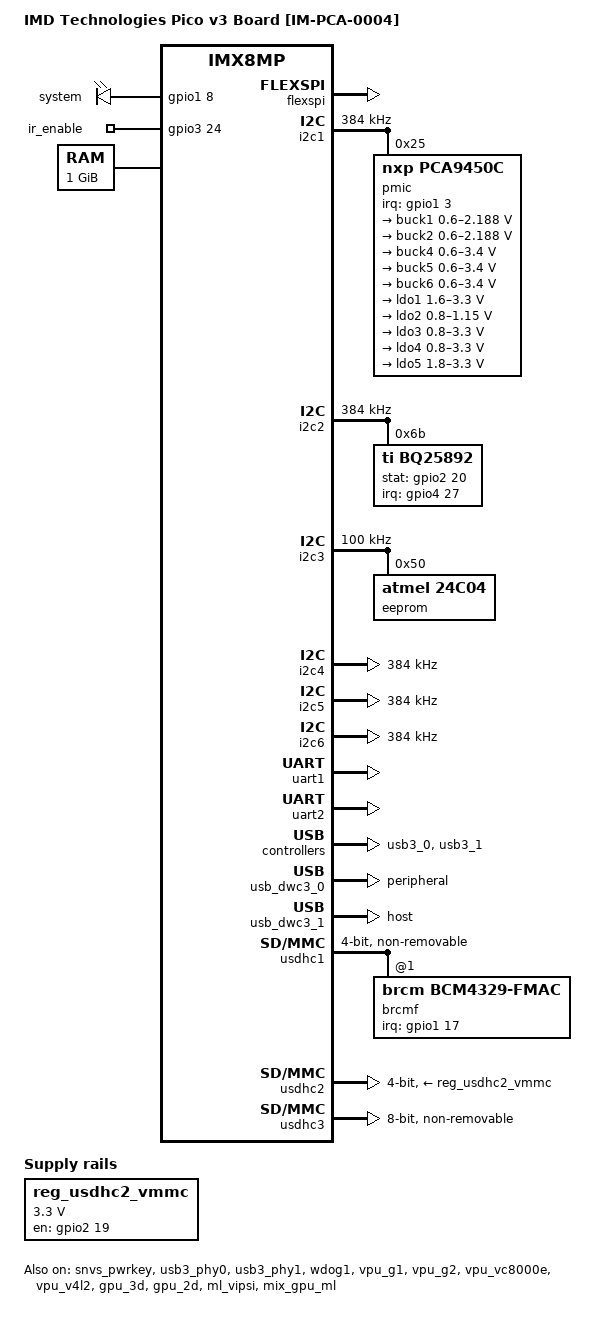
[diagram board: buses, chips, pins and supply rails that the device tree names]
// SPDX-License-Identifier: (GPL-2.0+ OR MIT)
/*
 * Copyright 2019 NXP
 * Copyright 2022 IMD Technologies
 */

/dts-v1/;

#include <dt-bindings/usb/pd.h>
#include "imx8mp.dtsi"

/ {
	model = "IMD Technologies Pico v3 Board [IM-PCA-0004]";
	compatible = "imdt,imx8mp-imdt-pico-v3-0004", "fsl,imx8mp";

	chosen {
		stdout-path = &uart2;
	};

	gpio-leds {
		compatible = "gpio-leds";
		pinctrl-names = "default";
		pinctrl-0 = <&pinctrl_gpio_led>;

		system {
			label = "system";
			gpios = <&gpio1 8 GPIO_ACTIVE_HIGH>;
			default-state = "on";
		};

		ir_enable {
			label = "ir_enable";
			gpios = <&gpio3 24 GPIO_ACTIVE_HIGH>;
			default-state = "off";
		};
	};

	memory@40000000 {
		device_type = "memory";
		reg = <0x0 0x40000000 0 0x40000000>;
	};

	resmem: reserved-memory {
		#address-cells = <2>;
		#size-cells = <2>;
		ranges;

		/* global autoconfigured region for contiguous allocations */
		linux,cma {
			compatible = "shared-dma-pool";
			reusable;
			size = <0 0x10000000>;
			alloc-ranges = <0 0x40000000 0 0x80000000>;
			linux,cma-default;
		};
	};

	reg_usdhc2_vmmc: regulator-usdhc2 {
		compatible = "regulator-fixed";
		pinctrl-names = "default";
		pinctrl-0 = <&pinctrl_reg_usdhc2_vmmc>;
		regulator-name = "VSD_3V3";
		regulator-min-microvolt = <3300000>;
		regulator-max-microvolt = <3300000>;
		gpio = <&gpio2 19 GPIO_ACTIVE_HIGH>;
		enable-active-high;
	};

};

&A53_0 {
	cpu-supply = <&buck2>;
};

&A53_1 {
	cpu-supply = <&buck2>;
};

&A53_2 {
	cpu-supply = <&buck2>;
};

&A53_3 {
	cpu-supply = <&buck2>;
};

/delete-node/ &dsp;

&pwm1 {
	status = "disabled";
};

&pwm2 {
	status = "disabled";
};

&pwm4 {
	status = "disabled";
};

&aud2htx {
	status = "disabled";
};

&ecspi2 {
	status = "disabled";
};

&flexspi {
	pinctrl-names = "default";
	pinctrl-0 = <&pinctrl_flexspi0>;
	status = "okay";
};

&i2c1 {
	clock-frequency = <384000>;
	pinctrl-names = "default";
	pinctrl-0 = <&pinctrl_i2c1>;
	status = "okay";

	pmic: pca9450@25 {
		reg = <0x25>;
		compatible = "nxp,pca9450c";
		/* PMIC PCA9450 PMIC_nINT GPIO1_IO3 */
		pinctrl-0 = <&pinctrl_pmic>;
		interrupt-parent = <&gpio1>;
		interrupts = <3 GPIO_ACTIVE_LOW>;

		regulators {
			buck1: BUCK1 {
				regulator-name = "BUCK1";
				regulator-min-microvolt = <600000>;
				regulator-max-microvolt = <2187500>;
				regulator-boot-on;
				regulator-always-on;
				regulator-ramp-delay = <3125>;
			};

			buck2: BUCK2 {
				regulator-name = "BUCK2";
				regulator-min-microvolt = <600000>;
				regulator-max-microvolt = <2187500>;
				regulator-boot-on;
				regulator-always-on;
				regulator-ramp-delay = <3125>;
				nxp,dvs-run-voltage = <950000>;
				nxp,dvs-standby-voltage = <850000>;
			};

			buck4: BUCK4{
				regulator-name = "BUCK4";
				regulator-min-microvolt = <600000>;
				regulator-max-microvolt = <3400000>;
				regulator-boot-on;
				regulator-always-on;
			};

			buck5: BUCK5{
				regulator-name = "BUCK5";
				regulator-min-microvolt = <600000>;
				regulator-max-microvolt = <3400000>;
				regulator-boot-on;
				regulator-always-on;
			};

			buck6: BUCK6 {
				regulator-name = "BUCK6";
				regulator-min-microvolt = <600000>;
				regulator-max-microvolt = <3400000>;
				regulator-boot-on;
				regulator-always-on;
			};

			ldo1: LDO1 {
				regulator-name = "LDO1";
				regulator-min-microvolt = <1600000>;
				regulator-max-microvolt = <3300000>;
				regulator-boot-on;
				regulator-always-on;
			};

			ldo2: LDO2 {
				regulator-name = "LDO2";
				regulator-min-microvolt = <800000>;
				regulator-max-microvolt = <1150000>;
				regulator-boot-on;
				regulator-always-on;
			};

			ldo3: LDO3 {
				regulator-name = "LDO3";
				regulator-min-microvolt = <800000>;
				regulator-max-microvolt = <3300000>;
				regulator-boot-on;
				regulator-always-on;
			};

			ldo4: LDO4 {
				regulator-name = "LDO4";
				regulator-min-microvolt = <800000>;
				regulator-max-microvolt = <3300000>;
				regulator-boot-on;
				regulator-always-on;
			};

			ldo5: LDO5 {
				regulator-name = "LDO5";
				regulator-min-microvolt = <1800000>;
				regulator-max-microvolt = <3300000>;
				regulator-boot-on;
				regulator-always-on;
			};
		};
	};
};

&i2c2 {
	clock-frequency = <384000>;
	pinctrl-names = "default";
	pinctrl-0 = <&pinctrl_i2c2>;
	status = "okay";

	bq25892 {
		compatible = "ti,bq25892";
		reg = <0x6b>;
		pinctrl-0 = <&pinctrl_bq25892>;

		interrupt-parent = <&gpio4>;
		interrupts = <27 IRQ_TYPE_EDGE_FALLING>;

		stat-gpios = <&gpio2 20 GPIO_ACTIVE_HIGH>;

		ti,battery-regulation-voltage = <4200000>;
		ti,charge-current = <1000000>;
		ti,termination-current = <50000>;
		ti,precharge-current = <128000>;
		ti,minimum-sys-voltage = <3600000>;
		ti,boost-voltage = <5000000>;
		ti,boost-max-current = <500000>;

		ti,use-ilim-pin;
		ti,thermal-regulation-threshold = <120>;
	};
};

&i2c3 {
	clock-frequency = <100000>;
	pinctrl-names = "default";
	pinctrl-0 = <&pinctrl_i2c3>;
	status = "okay";

	eeprom@50 {
		compatible = "atmel,24c04";
		reg = <0x50>;
	};
};

&i2c4 {
	clock-frequency = <384000>;
	pinctrl-names = "default";
	pinctrl-0 = <&pinctrl_i2c4>;
	status = "okay";
};

&i2c5 {
	clock-frequency = <384000>;
	pinctrl-names = "default";
	pinctrl-0 = <&pinctrl_i2c5>;
	status = "okay";
};

&i2c6 {
	clock-frequency = <384000>;
	pinctrl-names = "default";
	pinctrl-0 = <&pinctrl_i2c6>;
	status = "okay";
};

&irqsteer_hdmi {
	status = "disabled";
};

&hdmi_blk_ctrl {
	status = "disabled";
};

&hdmi_pavi {
	status = "disabled";
};

&hdmi {
	status = "disabled";
};

&hdmiphy {
	status = "disabled";
};

&lcdif1 {
	status = "disabled";
};

&lcdif2 {
	status = "disabled";
};

&lcdif3 {
	status = "disabled";
};

&ldb {
	status = "disabled";
};

&ldb_phy {
	status = "disabled";
};

&mipi_dsi {
	status = "disabled";
};

&snvs_pwrkey {
	status = "okay";
};

&easrc {
	status = "disabled";
};

&micfil {
	status = "disabled";
};

&pcie{
	status = "disabled";
};

&pcie_ep{
	status = "disabled";
};

&pcie_phy{
	status = "disabled";
};

&sai2 {
	status = "disabled";
};

&sai3 {
	status = "disabled";
};

&xcvr {
	status = "disabled";
};

&sdma2 {
	status = "okay";
};

&uart1 {
	/* Bluetooth */
	pinctrl-names = "default";
	pinctrl-0 = <&pinctrl_uart1>, <&pinctrl_bluetooth>;
	assigned-clocks = <&clk IMX8MP_CLK_UART1>;
	assigned-clock-parents = <&clk IMX8MP_SYS_PLL1_80M>;
	fsl,uart-has-rtscts;
	status = "okay";
};

&uart2 {
	/* Serial console */
	pinctrl-names = "default";
	pinctrl-0 = <&pinctrl_uart2>;
	status = "okay";
};

&uart3 {
	status = "disabled";
};

&usb3_phy0 {
	fsl,phy-tx-vref-tune = <0xe>;
	fsl,phy-tx-preemp-amp-tune = <3>;
	fsl,phy-tx-vboost-level = <5>;
	fsl,phy-comp-dis-tune = <7>;
	fsl,pcs-tx-deemph-3p5db = <0x21>;
	fsl,phy-pcs-tx-swing-full = <0x7f>;
	status = "okay";
};

&usb3_0 {
	status = "okay";
};

&usb_dwc3_0 {
	dr_mode = "peripheral";
	hnp-disable;
	srp-disable;
	adp-disable;
	status = "okay";
};

&usb3_phy1 {
	fsl,phy-tx-preemp-amp-tune = <3>;
	fsl,phy-tx-vref-tune = <0xb>;
	status = "okay";
};

&usb3_1 {
	status = "okay";
};

&usb_dwc3_1 {
	pinctrl-names = "default";
	pinctrl-0 = <&pinctrl_usb1_vbus>;
	dr_mode = "host";
	status = "okay";
};

&usdhc1 {
	/* Wi-Fi module */
	pinctrl-names = "default", "state_100mhz", "state_200mhz";
	pinctrl-0 = <&pinctrl_usdhc1>, <&pinctrl_usdhc1_gpio>;
	pinctrl-1 = <&pinctrl_usdhc1_100mhz>, <&pinctrl_usdhc1_gpio>;
	pinctrl-2 = <&pinctrl_usdhc1_200mhz>, <&pinctrl_usdhc1_gpio>;
	bus-width = <4>;
	pm-ignore-notify;
	keep-power-in-suspend;
	non-removable;
	cap-power-off-card;
	/delete-property/ vmmc-supply;
	status = "okay";

	brcmf: bcrmf@1 {
		reg = <1>;
		compatible = "brcm,bcm4329-fmac";

		pinctrl-names = "default";
		pinctrl-0 = <&pinctrl_wlan_irq>;

		interrupt-parent = <&gpio1>;
		interrupts = <17 IRQ_TYPE_LEVEL_HIGH>;
		interrupt-names = "host-wake";
	};
};

&usdhc2 {
	/* Micro SD card */
	assigned-clocks = <&clk IMX8MP_CLK_USDHC2>;
	assigned-clock-rates = <400000000>;
	pinctrl-names = "default", "state_100mhz", "state_200mhz";
	pinctrl-0 = <&pinctrl_usdhc2>;
	pinctrl-1 = <&pinctrl_usdhc2_100mhz>;
	pinctrl-2 = <&pinctrl_usdhc2_200mhz>;
	vmmc-supply = <&reg_usdhc2_vmmc>;
	bus-width = <4>;
	status = "okay";
};

&usdhc3 {
	/* eMMC */
	assigned-clocks = <&clk IMX8MP_CLK_USDHC3>;
	assigned-clock-rates = <400000000>;
	pinctrl-names = "default", "state_100mhz", "state_200mhz";
	pinctrl-0 = <&pinctrl_usdhc3>;
	pinctrl-1 = <&pinctrl_usdhc3_100mhz>;
	pinctrl-2 = <&pinctrl_usdhc3_200mhz>;
	bus-width = <8>;
	non-removable;
	status = "okay";
};

&wdog1 {
	pinctrl-names = "default";
	pinctrl-0 = <&pinctrl_wdog>;
	fsl,ext-reset-output;
	status = "okay";
};

&iomuxc {
	pinctrl-names = "default";
	pinctrl-0 = <&pinctrl_hog>;

	pinctrl_hog: hoggrp {
		fsl,pins = <
			MX8MP_IOMUXC_SAI2_TXFS__GPIO4_IO24		0x06
		>;
	};

	pinctrl_flexspi0: flexspi0grp {
		fsl,pins = <
			MX8MP_IOMUXC_NAND_ALE__FLEXSPI_A_SCLK           0x1c2
			MX8MP_IOMUXC_NAND_CE0_B__FLEXSPI_A_SS0_B        0x82
			MX8MP_IOMUXC_NAND_DATA00__FLEXSPI_A_DATA00      0x82
			MX8MP_IOMUXC_NAND_DATA01__FLEXSPI_A_DATA01      0x82
		>;
	};

	pinctrl_gpio_led: gpioledgrp {
		fsl,pins = <
			MX8MP_IOMUXC_GPIO1_IO08__GPIO1_IO08		0x19
			MX8MP_IOMUXC_SAI5_RXD3__GPIO3_IO24		0x19
		>;
	};

	pinctrl_i2c1: i2c1grp {
		fsl,pins = <
			MX8MP_IOMUXC_I2C1_SCL__I2C1_SCL		0x400001c2
			MX8MP_IOMUXC_I2C1_SDA__I2C1_SDA		0x400001c2
		>;
	};

	pinctrl_i2c2: i2c2grp {
		fsl,pins = <
			MX8MP_IOMUXC_I2C2_SCL__I2C2_SCL		0x400001c2
			MX8MP_IOMUXC_I2C2_SDA__I2C2_SDA		0x400001c2
		>;
	};

	pinctrl_i2c3: i2c3grp {
		fsl,pins = <
			MX8MP_IOMUXC_I2C3_SCL__I2C3_SCL		0x400001c2
			MX8MP_IOMUXC_I2C3_SDA__I2C3_SDA		0x400001c2
		>;
	};

	pinctrl_i2c4: i2c4grp {
		fsl,pins = <
			MX8MP_IOMUXC_I2C4_SCL__I2C4_SCL		0x400001c2
			MX8MP_IOMUXC_I2C4_SDA__I2C4_SDA		0x400001c2
		>;
	};

	pinctrl_i2c5: i2c5grp {
		fsl,pins = <
			MX8MP_IOMUXC_HDMI_DDC_SCL__I2C5_SCL		0x400001c2
			MX8MP_IOMUXC_HDMI_DDC_SDA__I2C5_SDA		0x400001c2
		>;
	};

	pinctrl_i2c6: i2c6grp {
		fsl,pins = <
			MX8MP_IOMUXC_HDMI_CEC__I2C6_SCL		0x400001c2
			MX8MP_IOMUXC_HDMI_HPD__I2C6_SDA		0x400001c2
		>;
	};

	pinctrl_pmic: pmicirq {
		fsl,pins = <
			MX8MP_IOMUXC_GPIO1_IO03__GPIO1_IO03	0x41
		>;
	};

	pinctrl_reg_usdhc2_vmmc: regusdhc2vmmcgrp {
		fsl,pins = <
			MX8MP_IOMUXC_SD2_RESET_B__GPIO2_IO19	0x41
		>;
	};

	pinctrl_bq25892: bq25892irq {
		fsl,pins = <
			MX8MP_IOMUXC_SAI2_MCLK__GPIO4_IO27		0x1c4
			MX8MP_IOMUXC_SD2_WP__GPIO2_IO20			0x1c4
		>;
	};

	pinctrl_uart1: uart1grp {
		fsl,pins = <
			MX8MP_IOMUXC_UART1_RXD__UART1_DCE_RX	0x140
			MX8MP_IOMUXC_UART1_TXD__UART1_DCE_TX	0x140
			MX8MP_IOMUXC_UART3_RXD__UART1_DCE_CTS	0x140
			MX8MP_IOMUXC_UART3_TXD__UART1_DCE_RTS	0x140
		>;
	};

	pinctrl_uart2: uart2grp {
		fsl,pins = <
			MX8MP_IOMUXC_UART2_RXD__UART2_DCE_RX	0x49
			MX8MP_IOMUXC_UART2_TXD__UART2_DCE_TX	0x49
		>;
	};

	pinctrl_usb1_vbus: usb1grp {
		fsl,pins = <
			MX8MP_IOMUXC_GPIO1_IO14__USB2_PWR		0x19
		>;
	};

	pinctrl_usdhc1: usdhc1grp {
		fsl,pins = <
			MX8MP_IOMUXC_SD1_CLK__USDHC1_CLK		0x190
			MX8MP_IOMUXC_SD1_CMD__USDHC1_CMD		0x1d0
			MX8MP_IOMUXC_SD1_DATA0__USDHC1_DATA0		0x1d0
			MX8MP_IOMUXC_SD1_DATA1__USDHC1_DATA1		0x1d0
			MX8MP_IOMUXC_SD1_DATA2__USDHC1_DATA2		0x1d0
			MX8MP_IOMUXC_SD1_DATA3__USDHC1_DATA3		0x1d0
		>;
	};

	pinctrl_usdhc1_100mhz: usdhc1-100mhzgrp {
		fsl,pins = <
			MX8MP_IOMUXC_SD1_CLK__USDHC1_CLK		0x194
			MX8MP_IOMUXC_SD1_CMD__USDHC1_CMD		0x1d4
			MX8MP_IOMUXC_SD1_DATA0__USDHC1_DATA0		0x1d4
			MX8MP_IOMUXC_SD1_DATA1__USDHC1_DATA1		0x1d4
			MX8MP_IOMUXC_SD1_DATA2__USDHC1_DATA2		0x1d4
			MX8MP_IOMUXC_SD1_DATA3__USDHC1_DATA3		0x1d4
		>;
	};

	pinctrl_usdhc1_200mhz: usdhc1-200mhzgrp {
		fsl,pins = <
			MX8MP_IOMUXC_SD1_CLK__USDHC1_CLK		0x196
			MX8MP_IOMUXC_SD1_CMD__USDHC1_CMD		0x1d6
			MX8MP_IOMUXC_SD1_DATA0__USDHC1_DATA0		0x1d6
			MX8MP_IOMUXC_SD1_DATA1__USDHC1_DATA1		0x1d6
			MX8MP_IOMUXC_SD1_DATA2__USDHC1_DATA2		0x1d6
			MX8MP_IOMUXC_SD1_DATA3__USDHC1_DATA3		0x1d6
		>;
	};

	pinctrl_usdhc2: usdhc2grp {
		fsl,pins = <
			MX8MP_IOMUXC_SD2_CLK__USDHC2_CLK		0x190
			MX8MP_IOMUXC_SD2_CMD__USDHC2_CMD		0x1d0
			MX8MP_IOMUXC_SD2_DATA0__USDHC2_DATA0		0x1d0
			MX8MP_IOMUXC_SD2_DATA1__USDHC2_DATA1		0x1d0
			MX8MP_IOMUXC_SD2_DATA2__USDHC2_DATA2		0x1d0
			MX8MP_IOMUXC_SD2_DATA3__USDHC2_DATA3		0x1d0
			MX8MP_IOMUXC_GPIO1_IO04__USDHC2_VSELECT		0xc1
		>;
	};

	pinctrl_usdhc2_100mhz: usdhc2-100mhzgrp {
		fsl,pins = <
			MX8MP_IOMUXC_SD2_CLK__USDHC2_CLK		0x194
			MX8MP_IOMUXC_SD2_CMD__USDHC2_CMD		0x1d4
			MX8MP_IOMUXC_SD2_DATA0__USDHC2_DATA0		0x1d4
			MX8MP_IOMUXC_SD2_DATA1__USDHC2_DATA1		0x1d4
			MX8MP_IOMUXC_SD2_DATA2__USDHC2_DATA2		0x1d4
			MX8MP_IOMUXC_SD2_DATA3__USDHC2_DATA3		0x1d4
			MX8MP_IOMUXC_GPIO1_IO04__USDHC2_VSELECT 	0xc1
		>;
	};

	pinctrl_usdhc2_200mhz: usdhc2-200mhzgrp {
		fsl,pins = <
			MX8MP_IOMUXC_SD2_CLK__USDHC2_CLK		0x196
			MX8MP_IOMUXC_SD2_CMD__USDHC2_CMD		0x1d6
			MX8MP_IOMUXC_SD2_DATA0__USDHC2_DATA0		0x1d6
			MX8MP_IOMUXC_SD2_DATA1__USDHC2_DATA1		0x1d6
			MX8MP_IOMUXC_SD2_DATA2__USDHC2_DATA2		0x1d6
			MX8MP_IOMUXC_SD2_DATA3__USDHC2_DATA3		0x1d6
			MX8MP_IOMUXC_GPIO1_IO04__USDHC2_VSELECT 	0xc1
		>;
	};

	pinctrl_usdhc3: usdhc3grp {
		fsl,pins = <
			MX8MP_IOMUXC_NAND_WE_B__USDHC3_CLK		0x190
			MX8MP_IOMUXC_NAND_WP_B__USDHC3_CMD		0x1d0
			MX8MP_IOMUXC_NAND_DATA04__USDHC3_DATA0		0x1d0
			MX8MP_IOMUXC_NAND_DATA05__USDHC3_DATA1		0x1d0
			MX8MP_IOMUXC_NAND_DATA06__USDHC3_DATA2		0x1d0
			MX8MP_IOMUXC_NAND_DATA07__USDHC3_DATA3		0x1d0
			MX8MP_IOMUXC_NAND_RE_B__USDHC3_DATA4		0x1d0
			MX8MP_IOMUXC_NAND_CE2_B__USDHC3_DATA5		0x1d0
			MX8MP_IOMUXC_NAND_CE3_B__USDHC3_DATA6		0x1d0
			MX8MP_IOMUXC_NAND_CLE__USDHC3_DATA7		0x1d0
			MX8MP_IOMUXC_NAND_CE1_B__USDHC3_STROBE		0x190
		>;
	};

	pinctrl_usdhc3_100mhz: usdhc3-100mhzgrp {
		fsl,pins = <
			MX8MP_IOMUXC_NAND_WE_B__USDHC3_CLK		0x194
			MX8MP_IOMUXC_NAND_WP_B__USDHC3_CMD		0x1d4
			MX8MP_IOMUXC_NAND_DATA04__USDHC3_DATA0		0x1d4
			MX8MP_IOMUXC_NAND_DATA05__USDHC3_DATA1		0x1d4
			MX8MP_IOMUXC_NAND_DATA06__USDHC3_DATA2		0x1d4
			MX8MP_IOMUXC_NAND_DATA07__USDHC3_DATA3		0x1d4
			MX8MP_IOMUXC_NAND_RE_B__USDHC3_DATA4		0x1d4
			MX8MP_IOMUXC_NAND_CE2_B__USDHC3_DATA5		0x1d4
			MX8MP_IOMUXC_NAND_CE3_B__USDHC3_DATA6		0x1d4
			MX8MP_IOMUXC_NAND_CLE__USDHC3_DATA7		0x1d4
			MX8MP_IOMUXC_NAND_CE1_B__USDHC3_STROBE		0x194
		>;
	};

	pinctrl_usdhc3_200mhz: usdhc3-200mhzgrp {
		fsl,pins = <
			MX8MP_IOMUXC_NAND_WE_B__USDHC3_CLK		0x196
			MX8MP_IOMUXC_NAND_WP_B__USDHC3_CMD		0x1d6
			MX8MP_IOMUXC_NAND_DATA04__USDHC3_DATA0		0x1d6
			MX8MP_IOMUXC_NAND_DATA05__USDHC3_DATA1		0x1d6
			MX8MP_IOMUXC_NAND_DATA06__USDHC3_DATA2		0x1d6
			MX8MP_IOMUXC_NAND_DATA07__USDHC3_DATA3		0x1d6
			MX8MP_IOMUXC_NAND_RE_B__USDHC3_DATA4		0x1d6
			MX8MP_IOMUXC_NAND_CE2_B__USDHC3_DATA5		0x1d6
			MX8MP_IOMUXC_NAND_CE3_B__USDHC3_DATA6		0x1d6
			MX8MP_IOMUXC_NAND_CLE__USDHC3_DATA7		0x1d6
			MX8MP_IOMUXC_NAND_CE1_B__USDHC3_STROBE		0x196
		>;
	};

	// WL_REG_ON
	pinctrl_usdhc1_gpio: usdhc3gpiogrp {
		fsl,pins = <
			MX8MP_IOMUXC_ENET_MDC__GPIO1_IO16	0x1c4
		>;
	};

	// BT_REG_ON
	pinctrl_bluetooth: bluetoothgrp {
		fsl,pins = <
			MX8MP_IOMUXC_ENET_RD1__GPIO1_IO27	0x1c4
			MX8MP_IOMUXC_ENET_RD0__GPIO1_IO26	0x1c4
		>;
	};

	pinctrl_wdog: wdoggrp {
		fsl,pins = <
			MX8MP_IOMUXC_GPIO1_IO02__WDOG1_WDOG_B	0xc6
		>;
	};

	// WL_WAKE
	pinctrl_wlan_irq: wlangrp {
		fsl,pins = <
			MX8MP_IOMUXC_ENET_MDIO__GPIO1_IO17	0x19
		>;
	};
};

&vpu_g1 {
	status = "okay";
};

&vpu_g2 {
	status = "okay";
};

&vpu_vc8000e {
	status = "okay";
};

&vpu_v4l2 {
	status = "okay";
};

&gpu_3d {
	status = "okay";
};

&gpu_2d {
	status = "okay";
};

&ml_vipsi {
	status = "okay";
};

&mix_gpu_ml {
	/* Reduce the amount of reserved memory allocated to the GPU */
	reg = <0x0 0x40000000 0x0 0x40000000>, <0x0 0x0 0x0 0x4000000>;
	status = "okay";
};
